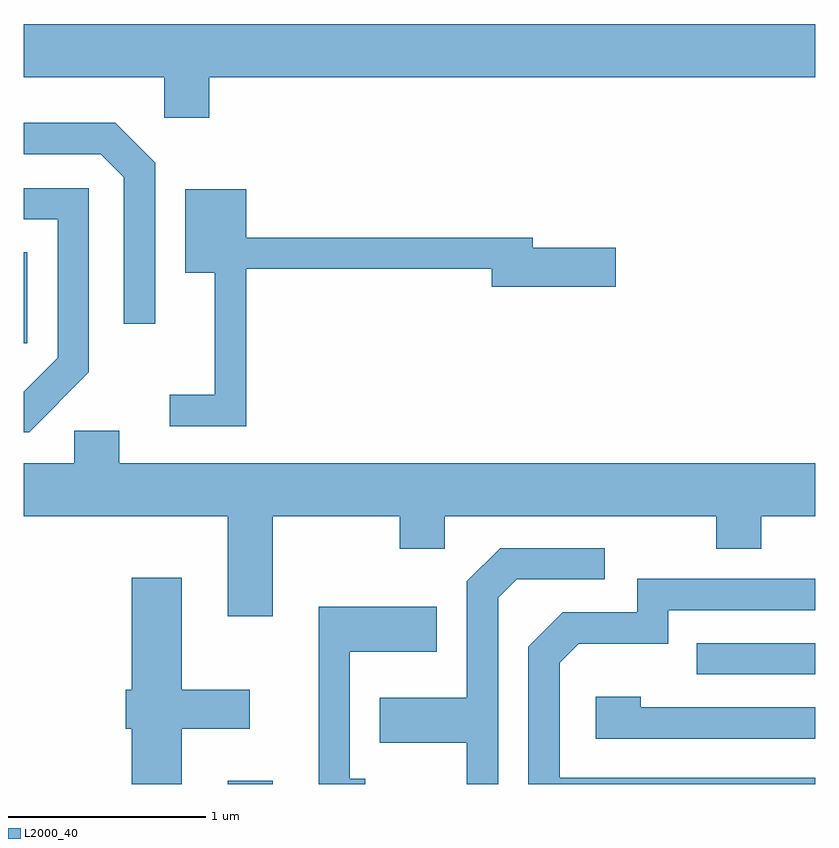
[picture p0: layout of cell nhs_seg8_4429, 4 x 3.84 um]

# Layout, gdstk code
import gdstk
lib = gdstk.Library(unit=1e-6, precision=1e-09)
def R(c, l, rs):  # rectangles x0, y0, x1, y1
    for r in rs: c.add(gdstk.rectangle(r[:2], r[2:], *l))
def P(c, l, *ps):  # polygons
    for p in ps: c.add(gdstk.Polygon(p, *l))
L2000_40 = (2000, 40)

nhs_seg8_4429 = lib.new_cell('nhs_seg8_4429')
R(nhs_seg8_4429, L2000_40, [(318.641,1888.342,318.869,1888.359), (321.013,1888.896,321.611,1889.054), (317.611,1890.571,317.629,1891.029)])
P(nhs_seg8_4429, L2000_40, [(318.549,1891.916),(321.611,1891.916),(321.611,1892.184),(317.611,1892.184),(317.611,1891.916),(318.321,1891.916),(318.321,1891.711),(318.549,1891.711)],
  [(318.274,1891.482),(318.072,1891.684),(317.611,1891.684),(317.611,1891.526),(317.999,1891.526),(318.116,1891.409),(318.116,1890.668),(318.274,1890.668)],
  [(317.939,1890.424),(317.939,1891.354),(317.611,1891.354),(317.611,1891.196),(317.781,1891.196),(317.781,1890.497),(317.611,1890.326),(317.611,1890.121),(317.637,1890.121)],
  [(318.734,1890.946),(319.976,1890.946),(319.976,1890.856),(320.604,1890.856),(320.604,1891.054),(320.184,1891.054),(320.184,1891.104),(318.734,1891.104),(318.734,1891.349),(318.426,1891.349),(318.426,1890.926),(318.576,1890.926),(318.576,1890.309),(318.348,1890.309),(318.348,1890.151),(318.734,1890.151)],
  [(318.869,1889.696),(319.511,1889.696),(319.511,1889.531),(319.739,1889.531),(319.739,1889.696),(321.111,1889.696),(321.111,1889.531),(321.339,1889.531),(321.339,1889.696),(321.611,1889.696),(321.611,1889.964),(318.094,1889.964),(318.094,1890.129),(317.866,1890.129),(317.866,1889.964),(317.611,1889.964),(317.611,1889.696),(318.641,1889.696),(318.641,1889.191),(318.869,1889.191)],
  [(320.009,1889.284),(320.102,1889.376),(320.548,1889.376),(320.548,1889.534),(320.019,1889.534),(319.851,1889.367),(319.851,1888.779),(319.411,1888.779),(319.411,1888.551),(319.851,1888.551),(319.851,1888.342),(320.009,1888.342)],
  [(318.409,1888.621),(318.754,1888.621),(318.754,1888.819),(318.409,1888.819),(318.409,1889.384),(318.156,1889.384),(318.156,1888.819),(318.126,1888.819),(318.126,1888.621),(318.156,1888.621),(318.156,1888.342),(318.409,1888.342)],
  [(321.611,1888.374),(320.319,1888.374),(320.319,1888.954),(320.417,1889.051),(320.869,1889.051),(320.869,1889.221),(321.611,1889.221),(321.611,1889.379),(320.711,1889.379),(320.711,1889.209),(320.334,1889.209),(320.161,1889.037),(320.161,1888.342),(321.611,1888.342)],
  [(319.338,1888.369),(319.259,1888.369),(319.259,1889.011),(319.699,1889.011),(319.699,1889.239),(319.101,1889.239),(319.101,1888.342),(319.338,1888.342)],
  [(321.611,1888.729),(320.729,1888.729),(320.729,1888.784),(320.501,1888.784),(320.501,1888.571),(321.611,1888.571)])

lib.write_gds('nhs_seg8_4429.gds')
